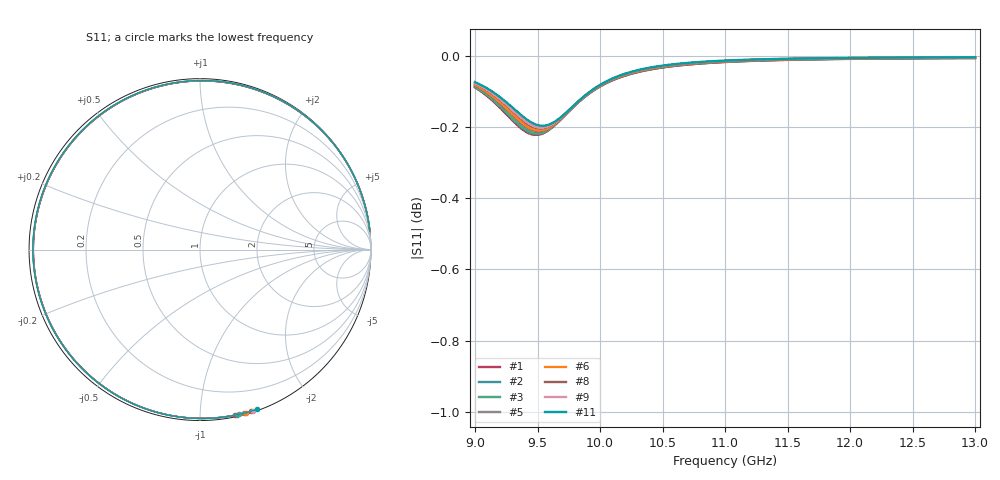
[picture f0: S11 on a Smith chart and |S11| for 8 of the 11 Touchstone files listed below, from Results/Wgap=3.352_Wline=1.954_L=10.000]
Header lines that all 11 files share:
! TOUCHSTONE file generated by CST DESIGN STUDIO
! Project name: C:\Work\MatlabApps\UnitCellOptimizationMatlab\CST\unitcell.cst
! Tree item: Tasks\Sweep1\SPara1\S-Parameters
! Header version: 2024
! Port assignment regex: !\s*Touchstone port\s*([0-9]+)\s*=\s*(CST MWS port|CST DES external port|CST DES block port)\s*(.+)\s* \(\"(.*)\"\)(\s*mode\s*([0-9]+))?.*
! Touchstone port assignment:
! Touchstone port 1 = CST DES external port 1 ("")
# GHz S MA R 50
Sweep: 9 GHz to 13 GHz
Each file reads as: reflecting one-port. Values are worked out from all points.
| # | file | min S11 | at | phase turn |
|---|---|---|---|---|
| 1 | DS_for_MWS-run-0001.s1p | -0.2 dB | 9.488 GHz | -276 deg |
| 2 | DS_for_MWS-run-0002.s1p | -0.2 dB | 9.493 GHz | -276 deg |
| 3 | DS_for_MWS-run-0003.s1p | -0.2 dB | 9.498 GHz | -277 deg |
| 4 | DS_for_MWS-run-0004.s1p | -0.2 dB | 9.503 GHz | -278 deg |
| 5 | DS_for_MWS-run-0005.s1p | -0.2 dB | 9.508 GHz | -279 deg |
| 6 | DS_for_MWS-run-0006.s1p | -0.2 dB | 9.513 GHz | -279 deg |
| 7 | DS_for_MWS-run-0007.s1p | -0.2 dB | 9.518 GHz | -280 deg |
| 8 | DS_for_MWS-run-0008.s1p | -0.2 dB | 9.524 GHz | -281 deg |
| 9 | DS_for_MWS-run-0009.s1p | -0.2 dB | 9.529 GHz | -282 deg |
| 10 | DS_for_MWS-run-0010.s1p | -0.2 dB | 9.535 GHz | -283 deg |
| 11 | DS_for_MWS-run-0011.s1p | -0.2 dB | 9.54 GHz | -283 deg |
